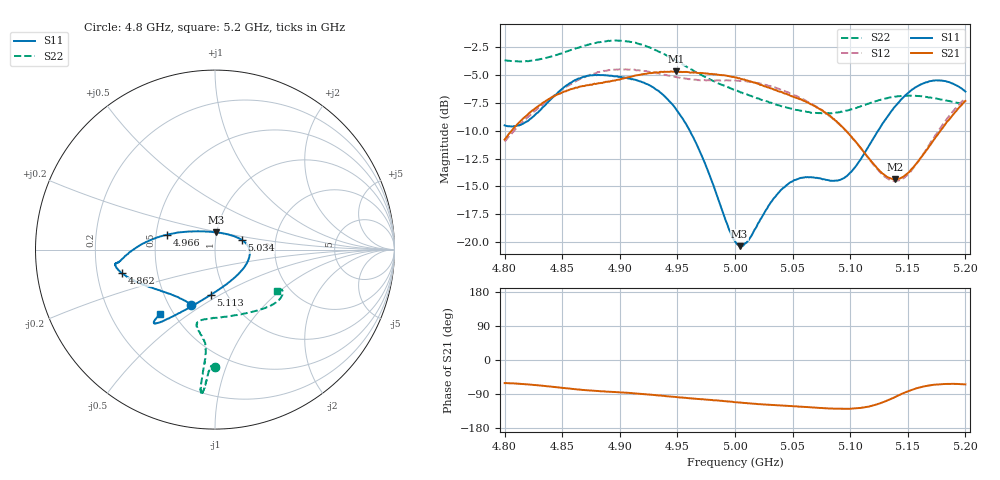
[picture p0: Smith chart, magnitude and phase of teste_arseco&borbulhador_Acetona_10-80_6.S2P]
! Network Analyzer HP8722D
! Hewlett-Packard
! Data name: Linha & Wilkinson
! Saver's name: Rodrigo Anjos
! Comments: Teste da utilização de aquisição
! continua pelo VNA HP8722D
! Time and date: 17/4/2025 14:24
!  Frequency  S11  S21  S12  S22
# HZ  S  MA R 50
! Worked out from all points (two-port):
!   401 points, 4.8 GHz to 5.2 GHz, reference 50 ohm
!   highest |S21| = -4.68 dB at 4.949 GHz (marker M1); lowest = -14.4 dB at 5.139 GHz (marker M2)
!   |S21| within 3 dB of the highest: 4.831 GHz to 5.067 GHz (236.3 MHz wide, 4.77 % of centre); 5.196798 GHz to end of sweep
!   lowest |S11| = -20.4 dB at 5.004 GHz (marker M3), VSWR 1.21, Z = 49.6 + j9.57 ohm
!   |S11| at or under -10 dB: 4.961 GHz to 5.124 GHz (163.5 MHz wide, 3.24 % of centre)
!   |S22| runs from -8.5 to -1.9 dB; largest |S21 - S12| = 0.87
!   S11 on the Smith chart (normalised r, x): 4.8 GHz: 0.64, -0.44; 4.862 GHz: 0.31, -0.11; 4.966 GHz: 0.57, +0.10; 5.034 GHz: 1.34, +0.15; 5.113 GHz: 0.84, -0.45; 5.2 GHz: 0.42, -0.39
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4.8e9  0.3341 -113.5  0.2883 -61.0  0.2826 -175.1  0.6553 -90.1
4.819e9  0.3475 -133.4  0.3696 -64.2  0.359 -173.8  0.6503 -91.6
4.862e9  0.5359 -165.8  0.4941 -77.1  0.5279 -176.9  0.7413 -94.0
4.867e9  0.548 -167.8  0.5006 -78.8  0.5443 -177.9  0.7563 -94.1
4.9e9  0.5516 -172.3  0.5365 -85.3  0.5973 175.5  0.8023 -95.4
4.934e9  0.4758 -178.3  0.5782 -93.7  0.5723 171.7  0.7156 -95.8
4.949e9  0.3942 174.6  0.5836 -97.7  0.5511 172.0  0.6532 -95.5
4.966e9  0.2797 162.7  0.5774 -102.0  0.5362 173.6  0.5799 -95.0
5e9  0.1009 101.5  0.5484 -111.2  0.5315 176.1  0.4806 -99.3
5.004e9  0.09573 87.1  0.544 -112.2  0.5285 175.9  0.4731 -100.1
5.012e9  0.1022 60.6  0.5286 -114.3  0.5251 175.8  0.4568 -101.8
5.034e9  0.1578 20.4  0.4831 -119.1  0.4959 174.7  0.4166 -103.6
5.05e9  0.1871 4.2  0.4506 -122.0  0.4601 174.0  0.3964 -99.6
5.067e9  0.1953 -13.9  0.4139 -125.1  0.4158 173.6  0.3806 -90.9
5.093e9  0.192 -58.2  0.3292 -128.8  0.3283 174.0  0.3848 -70.6
5.113e9  0.2537 -95.6  0.2492 -124.5  0.2486 179.9  0.4135 -55.1
5.134e9  0.3762 -116.5  0.194 -104.5  0.1905 -157.4  0.4456 -43.0
5.139e9  0.4064 -119.5  0.1913 -97.6  0.188 -149.6  0.4499 -40.8
5.151e9  0.4707 -124.6  0.2057 -81.5  0.2037 -131.1  0.4546 -36.5
5.17e9  0.5285 -128.9  0.2746 -66.4  0.2813 -112.6  0.4454 -32.0
5.184e9  0.5253 -130.2  0.3466 -63.1  0.358 -107.4  0.4318 -31.1
5.2e9  0.4742 -130.6  0.4301 -64.4  0.4424 -106.5  0.4147 -33.3
